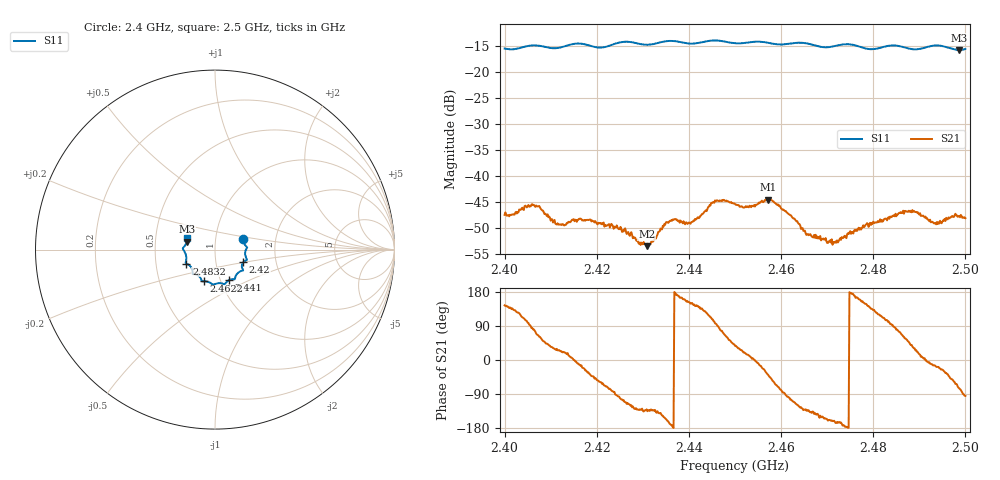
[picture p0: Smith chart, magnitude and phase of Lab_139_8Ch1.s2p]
# Hz S RI R 50
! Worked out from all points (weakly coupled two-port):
!   601 points, 2.4 GHz to 2.5 GHz, reference 50 ohm
!   highest |S21| = -44.60 dB at 2.4572 GHz (marker M1); lowest = -53.6 dB at 2.4308 GHz (marker M2)
!   lowest |S11| = -15.8 dB at 2.4987 GHz (marker M3), VSWR 1.39, Z = 36.4 + j3.36 ohm
!   |S11| at or under -10 dB: start of sweep to end of sweep
!   S12 and S22 are empty: the file has one direction only
!   S11 on the Smith chart (normalised r, x): 2.4 GHz: 1.36, +0.17; 2.42 GHz: 1.36, -0.20; 2.441 GHz: 1.09, -0.39; 2.4622 GHz: 0.83, -0.30; 2.4832 GHz: 0.72, -0.12; 2.5 GHz: 0.73, +0.09
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2.4e9  0.1564 0.0599  -0.00341 0.00245  0 0  0 0
2.406333e9  0.1796 0.0131  0.00084 0.00518  0 0  0 0
2.4115e9  0.1676 -0.025  0.00314 0.0015  0 0  0 0
2.416667e9  0.1772 -0.0582  0.0037 -0.000927  0 0  0 0
2.42e9  0.1568 -0.0712  0.00212 -0.00276  0 0  0 0
2.424833e9  0.1553 -0.1115  -0.000346 -0.00304  0 0  0 0
2.430833e9  0.1266 -0.1311  -0.00136 -0.0016  0 0  0 0
2.433333e9  0.1132 -0.1524  -0.00216 -0.00189  0 0  0 0
2.4365e9  0.1094 -0.1654  -0.00379 -0.000171  0 0  0 0
2.441e9  0.0766 -0.1708  -0.00305 0.0021  0 0  0 0
2.445667e9  0.0528 -0.1935  -0.000695 0.00575  0 0  0 0
2.45e9  0.0261 -0.1868  0.00424 0.00326  0 0  0 0
2.457167e9  -0.02 -0.1896  0.00458 -0.0037  0 0  0 0
2.462167e9  -0.0632 -0.1766  -0.00103 -0.00402  0 0  0 0
2.466667e9  -0.0766 -0.1664  -0.00197 -0.00167  0 0  0 0
2.471667e9  -0.1122 -0.1373  -0.00216 -0.000666  0 0  0 0
2.483167e9  -0.1596 -0.0781  -0.000755 0.00384  0 0  0 0
2.483333e9  -0.1604 -0.0776  -0.000811 0.0039  0 0  0 0
2.489e9  -0.1612 -0.0345  0.00388 0.00228  0 0  0 0
2.493833e9  -0.1797 0.00616  0.00341 -0.00112  0 0  0 0
2.498667e9  -0.156 0.0449  0.00108 -0.00396  0 0  0 0
2.5e9  -0.1534 0.0633  -0.000328 -0.00389  0 0  0 0
